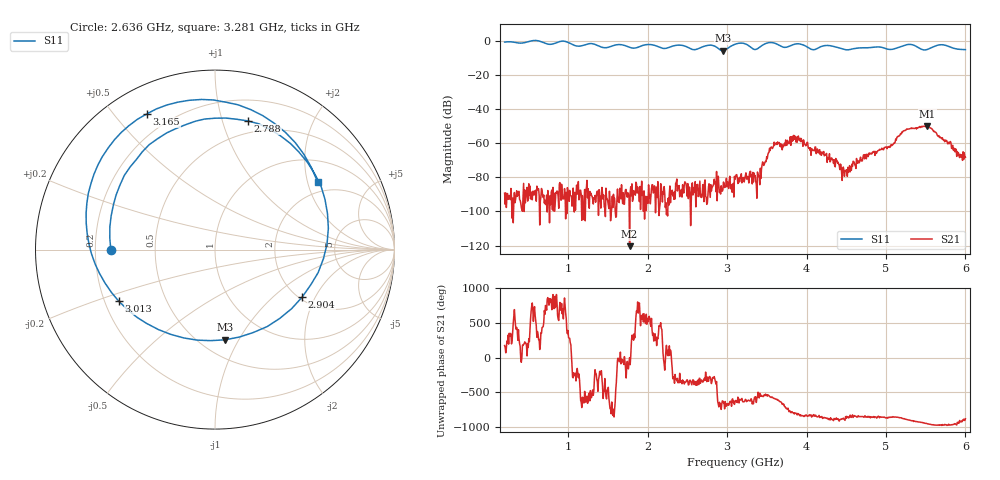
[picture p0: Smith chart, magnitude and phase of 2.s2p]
! NanoVNA-App by OneOfEleven et al v1.1.209 (+OD15)
! Date: 2024-07-30 15:24:03
! Start: 200MHz Stop: 6GHz Points: 801
! S-Parameter data: F S11 S21 S12 S22
# Hz S RI R 50
!  Frequency  S11_Real  S11_Imag  S21_Real  S21_Imag  S12_Real  S12_Imag  S22_Real  S22_Imag
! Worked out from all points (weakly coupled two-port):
!   801 points, 200 MHz to 6 GHz, reference 50 ohm
!   highest |S21| = -50.01 dB at 5.521 GHz (marker M1); lowest = -120.3 dB at 1.773 GHz (marker M2)
!   lowest |S11| = -5.9 dB at 2.948 GHz (marker M3), VSWR 3.05, Z = 32.6 - j44 ohm
!   |S11| at or under -10 dB: nowhere
!   S12 and S22 are empty: the file has one direction only
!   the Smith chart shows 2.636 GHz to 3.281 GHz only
!   S11 on the Smith chart (normalised r, x): 2.636 GHz: 0.27, -0.00; 2.788 GHz: 0.38, +1.21; 2.904 GHz: 2.08, -1.58; 3.013 GHz: 0.26, -0.24; 3.165 GHz: 0.11, +0.61; 3.281 GHz: 1.63, +2.32
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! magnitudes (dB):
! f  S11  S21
! 200 MHz  -0.8  -89.3
! 1.171 GHz  -3.0  -105.2
! 1.773 GHz  -3.9  -120.3
! 2.136 GHz  -3.6  -92.5
! 2.636 GHz  -4.7  -91.3
! 2.788 GHz  -2.6  -91.8
! 2.904 GHz  -5.1  -88.9
! 2.948 GHz  -5.9  -87.3
! 3.013 GHz  -4.3  -83.4
! 3.1 GHz  -2.1  -81.2
! 3.165 GHz  -1.4  -79.9
! 3.281 GHz  -3.3  -78.1
! 3.397 GHz  -4.3  -79.6
! 3.542 GHz  -1.1  -64.4
! 3.622 GHz  -1.9  -59.8
! 3.869 GHz  -1.9  -59.4
! 4.072 GHz  -5.2  -63.6
! 4.506 GHz  -5.4  -75.6
! 5.036 GHz  -5.1  -62.3
! 5.246 GHz  -2.6  -52.4
! 5.521 GHz  -5.1  -50.0
! 6 GHz  -5.3  -68.2
